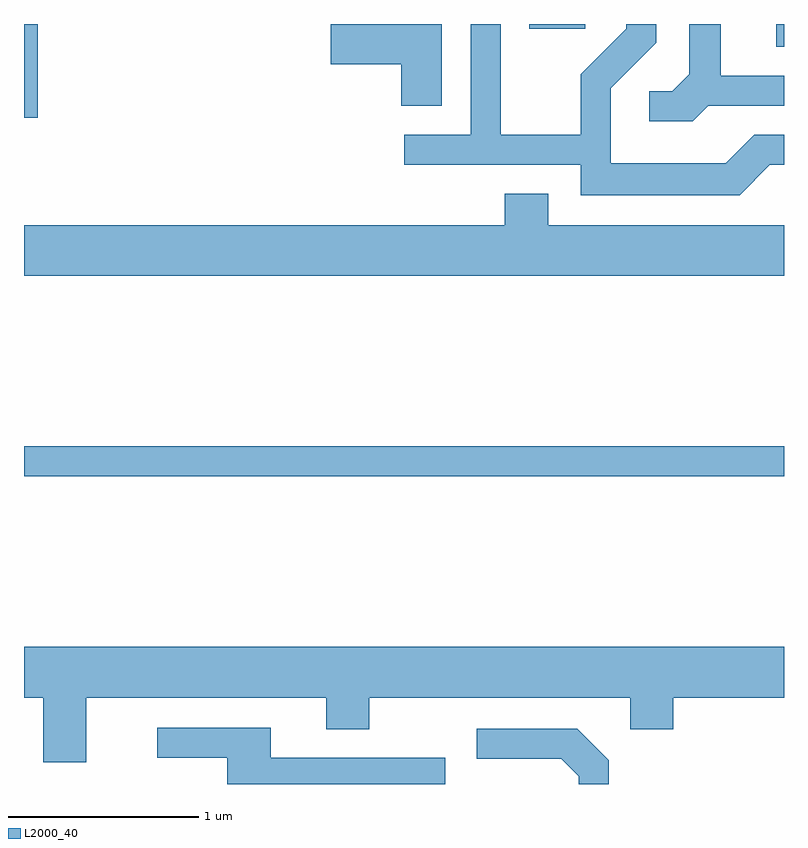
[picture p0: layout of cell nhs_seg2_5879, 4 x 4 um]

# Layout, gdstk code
import gdstk
lib = gdstk.Library(unit=1e-6, precision=1e-09)
def R(c, l, rs):  # rectangles x0, y0, x1, y1
    for r in rs: c.add(gdstk.rectangle(r[:2], r[2:], *l))
def P(c, l, *ps):  # polygons
    for p in ps: c.add(gdstk.Polygon(p, *l))
L2000_40 = (2000, 40)

nhs_seg2_5879 = lib.new_cell('nhs_seg2_5879')
R(nhs_seg2_5879, L2000_40, [(357.611,1109.421,361.611,1109.579), (357.611,1111.308,357.684,1111.802), (361.571,1111.681,361.611,1111.802), (360.271,1111.776,360.564,1111.802)])
P(nhs_seg2_5879, L2000_40, [(359.809,1111.802),(359.226,1111.802),(359.226,1111.591),(359.596,1111.591),(359.596,1111.371),(359.809,1111.371)],
  [(361.212,1111.371),(361.611,1111.371),(361.611,1111.529),(361.279,1111.529),(361.279,1111.802),(361.111,1111.802),(361.111,1111.537),(361.024,1111.449),(360.903,1111.449),(360.903,1111.291),(361.132,1111.291)],
  [(361.537,1111.061),(361.611,1111.061),(361.611,1111.219),(361.454,1111.219),(361.304,1111.069),(360.699,1111.069),(360.699,1111.464),(360.939,1111.704),(360.939,1111.802),(360.781,1111.802),(360.781,1111.777),(360.541,1111.537),(360.541,1111.219),(360.119,1111.219),(360.119,1111.802),(359.961,1111.802),(359.961,1111.219),(359.613,1111.219),(359.613,1111.061),(360.541,1111.061),(360.541,1110.901),(361.377,1110.901)],
  [(361.611,1110.744),(360.369,1110.744),(360.369,1110.909),(360.141,1110.909),(360.141,1110.744),(357.611,1110.744),(357.611,1110.476),(361.611,1110.476)],
  [(357.939,1108.256),(359.201,1108.256),(359.201,1108.091),(359.429,1108.091),(359.429,1108.256),(360.801,1108.256),(360.801,1108.091),(361.029,1108.091),(361.029,1108.256),(361.611,1108.256),(361.611,1108.524),(357.611,1108.524),(357.611,1108.256),(357.711,1108.256),(357.711,1107.916),(357.939,1107.916)],
  [(359.829,1107.939),(358.909,1107.939),(358.909,1108.099),(358.313,1108.099),(358.313,1107.941),(358.681,1107.941),(358.681,1107.802),(359.829,1107.802)],
  [(360.689,1107.927),(360.522,1108.094),(359.993,1108.094),(359.993,1107.936),(360.439,1107.936),(360.531,1107.844),(360.531,1107.802),(360.689,1107.802)])

lib.write_gds('nhs_seg2_5879.gds')
